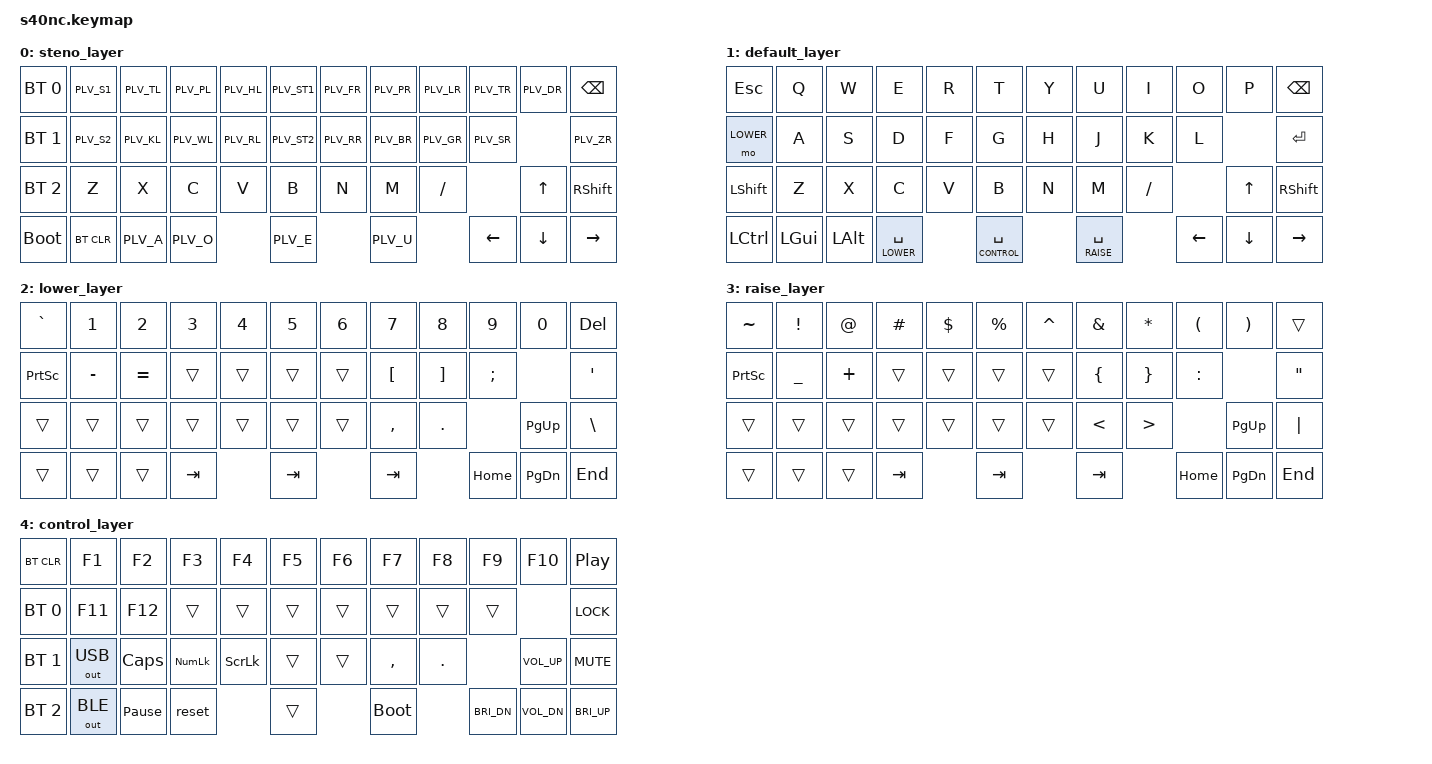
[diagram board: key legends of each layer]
/*
 * Copyright (c) 2021 The ZMK Contributors
 *
 * SPDX-License-Identifier: MIT
 */

#include <behaviors.dtsi>
#include <dt-bindings/zmk/keys.h>
#include <dt-bindings/zmk/bt.h>
#include <dt-bindings/zmk/outputs.h>

#define STENO 0
#define DEFAULT 1
#define LOWER   2
#define RAISE   3
#define CONTROL 4

/ {
	keymap {
		compatible = "zmk,keymap";
		
		steno_layer {
			bindings = <
               &bt BT_SEL 0 &kp PLV_S1 &kp PLV_TL &kp PLV_PL &kp PLV_HL &kp PLV_ST1      &kp PLV_FR   &kp PLV_PR  &kp PLV_LR     &kp PLV_TR     &kp PLV_DR     &kp BSPC
               &bt BT_SEL 1 &kp PLV_S2 &kp PLV_KL &kp PLV_WL &kp PLV_RL &kp PLV_ST2      &kp PLV_RR   &kp PLV_BR  &kp PLV_GR     &kp PLV_SR     &kp PLV_ZR
               &bt BT_SEL 2 &kp Z     &kp X     &kp C  &kp V     &kp B      &kp N   &kp M  &kp FSLH            &kp UP    &kp RSHFT
                &bootloader  &bt BT_CLR  &kp PLV_A  &kp PLV_O  &kp PLV_E  &kp PLV_U  &kp LEFT &kp DOWN  &kp RIGHT
			>;
		};
		
		default_layer {
			bindings = <
                &kp ESC    &kp Q     &kp W     &kp E  &kp R     &kp T      &kp Y   &kp U  &kp I     &kp O     &kp P     &kp BSPC
                &mo LOWER  &kp A     &kp S     &kp D  &kp F     &kp G      &kp H   &kp J  &kp K     &kp L               &kp ENTER
                &kp LSHFT  &kp Z     &kp X     &kp C  &kp V     &kp B      &kp N   &kp M  &kp FSLH            &kp UP    &kp RSHFT
                &kp LCTRL  &kp LGUI  &kp LALT  &lt LOWER SPACE  &lt CONTROL SPACE  &lt RAISE SPACE  &kp LEFT  &kp DOWN  &kp RIGHT
			>;
		};
		
		lower_layer {
			bindings = <
                &kp GRAVE  &kp N1     &kp N2     &kp N3  &kp N4  &kp N5  &kp N6  &kp N7     &kp N8    &kp N9     &kp N0     &kp DEL
                &kp PSCRN  &kp MINUS  &kp EQUAL  &trans  &trans  &trans  &trans  &kp LBKT   &kp RBKT  &kp SEMI              &kp APOS
                &trans     &trans     &trans     &trans  &trans  &trans  &trans  &kp COMMA  &kp DOT              &kp PG_UP  &kp BSLH
                &trans     &trans     &trans     &kp TAB         &kp TAB         &kp TAB              &kp HOME   &kp PG_DN  &kp END
			>;
		};
        
        raise_layer {
			bindings = <
                &kp TILDE  &kp EXCL   &kp AT    &kp HASH  &kp DLLR  &kp PRCNT  &kp CARET  &kp AMPS  &kp STAR  &kp LPAR   &kp RPAR   &trans
                &kp PSCRN  &kp UNDER  &kp PLUS  &trans    &trans    &trans     &trans     &kp LBRC  &kp RBRC  &kp COLON             &kp DQT
                &trans     &trans     &trans    &trans    &trans    &trans     &trans     &kp LT    &kp GT               &kp PG_UP  &kp PIPE
                &trans     &trans     &trans    &kp TAB             &kp TAB               &kp TAB             &kp HOME   &kp PG_DN  &kp END
			>;
		};
        
        control_layer {
			bindings = <
                &bt BT_CLR    &kp F1        &kp F2           &kp F3      &kp F4    &kp F5  &kp F6  &kp F7     &kp F8   &kp F9        &kp F10       &kp C_PP
                &bt BT_SEL 0  &kp F11       &kp F12          &trans      &trans    &trans  &trans  &trans     &trans   &trans                      &kp K_LOCK
                &bt BT_SEL 1  &out OUT_USB  &kp CAPS         &kp KP_NUM  &kp SLCK  &trans  &trans  &kp COMMA  &kp DOT                &kp K_VOL_UP  &kp K_MUTE
                &bt BT_SEL 2  &out OUT_BLE  &kp PAUSE_BREAK  &reset                &trans          &bootloader         &kp C_BRI_DN  &kp K_VOL_DN  &kp C_BRI_UP
			>;
		};
	};
};
            
